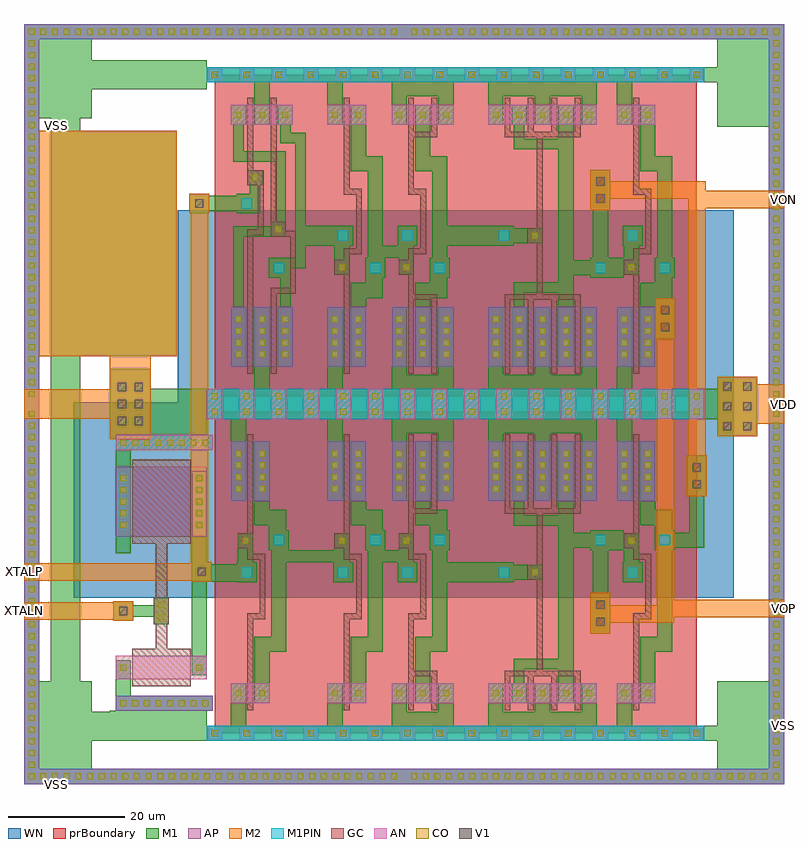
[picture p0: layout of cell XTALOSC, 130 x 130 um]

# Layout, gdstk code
import gdstk
lib = gdstk.Library(unit=1e-6, precision=1e-09)
def R(c, l, rs):  # rectangles x0, y0, x1, y1
    for r in rs: c.add(gdstk.rectangle(r[:2], r[2:], *l))
def A(c, l, x, y, w, h, nx, ny, dx, dy):  # array of equal rectangles
    R(c, l, [(x+i*dx, y+j*dy, x+i*dx+w, y+j*dy+h) for i in range(nx) for j in range(ny)])
def P(c, l, *ps):  # polygons
    for p in ps: c.add(gdstk.Polygon(p, *l))
AP = (3, 1)
AN = (3, 2)
GC = (8, 1)
CO = (11, 0)
M1 = (13, 0)
V1 = (19, 0)
M2 = (20, 0)
M1PIN = (48, 1)
WN = (140, 0)
prBoundary = (235, 0)

inv_x1 = lib.new_cell('INV_X1')
A(inv_x1, AP, -1.3, -1.3, 2.6, 2.6, 4, 1, 5.5, 0)
R(inv_x1, AP, [(2.8,39.7,9.4,49.9), (2.8,39.7,9.4,49.9)])
A(inv_x1, AN, -1.3, 53.7, 2.6, 2.6, 4, 1, 5.5, 0)
R(inv_x1, AN, [(2.8,5.1,9.4,8.5)])
P(inv_x1, GC, [(5.6,3.9),(5.6,20.5),(7.7,20.5),(7.7,29.7),(5.6,29.7),(5.6,31.6),(4,31.6),(4,34.2),(5.6,34.2),(5.6,51.1),(6.6,51.1),(6.6,30.7),(8.7,30.7),(8.7,19.5),(6.6,19.5),(6.6,3.9)])
A(inv_x1, CO, -0.5, -0.5, 1, 1, 4, 2, 5.5, 55)
A(inv_x1, CO, 3.6, 41.3, 1, 1, 1, 4, 0, 2)
A(inv_x1, CO, 7.6, 41.3, 1, 1, 1, 4, 0, 2)
R(inv_x1, CO, [(3.6,6.3,4.6,7.3), (7.6,6.3,8.6,7.3), (4.8,32.4,5.8,33.4)])
P(inv_x1, M1, [(-1.3,-1.3),(-1.3,1.3),(2.8,1.3),(2.8,8.5),(5.4,8.5),(5.4,1.3),(17.8,1.3),(17.8,-1.3)],
  [(3.8,25.8),(3.8,29.2),(4,29.2),(4,34.2),(6.6,34.2),(6.6,29.2),(7.2,29.2),(7.2,25.8)],
  [(6.8,5.1),(6.8,16.5),(9.7,16.5),(9.7,31.3),(9.3,31.3),(9.3,35.6),(6.8,35.6),(6.8,49.9),(9.4,49.9),(9.4,38.2),(12.3,38.2),(12.3,34.7),(12.7,34.7),(12.7,31.3),(12.3,31.3),(12.3,13.9),(9.4,13.9),(9.4,5.1)],
  [(2.8,39.7),(2.8,53.7),(-1.3,53.7),(-1.3,56.3),(17.8,56.3),(17.8,53.7),(5.4,53.7),(5.4,39.7)])
R(inv_x1, M1PIN, [(-1.3,-1.3,17.8,1.3), (4.6,26.6,6.4,28.4), (10.1,32.1,11.9,33.9), (-1.3,53.7,17.8,56.3)])
R(inv_x1, WN, [(-6.3,23.2,22.8,61.3)])
R(inv_x1, prBoundary, [(0,0,16.5,55)])
inv_x1.add(gdstk.Label('A', (5.5,27.5), layer=48, texttype=0))
inv_x1.add(gdstk.Label('vdd', (0,55), layer=48, texttype=0))
inv_x1.add(gdstk.Label('gnd', (0,0), layer=48, texttype=0))
inv_x1.add(gdstk.Label('Y', (11,33), layer=48, texttype=0))

inv_x2 = lib.new_cell('INV_X2')
A(inv_x2, AP, -1.3, -1.3, 2.6, 2.6, 4, 1, 5.5, 0)
R(inv_x2, AP, [(2.8,39.7,13.4,49.9), (2.8,39.7,13.4,49.9)])
A(inv_x2, AN, -1.3, 53.7, 2.6, 2.6, 4, 1, 5.5, 0)
R(inv_x2, AN, [(2.8,5.1,13.4,8.5)])
P(inv_x2, GC, [(5.6,3.9),(5.6,20.5),(7.7,20.5),(7.7,29.7),(5.6,29.7),(5.6,31.6),(4,31.6),(4,34.2),(5.6,34.2),(5.6,51.1),(6.6,51.1),(6.6,38.5),(9.6,38.5),(9.6,51.1),(10.6,51.1),(10.6,37.5),(6.6,37.5),(6.6,30.7),(8.7,30.7),(8.7,19.5),(6.6,19.5),(6.6,10.7),(10.6,10.7),(10.6,3.9),(9.6,3.9),(9.6,9.7),(6.6,9.7),(6.6,3.9)])
A(inv_x2, CO, -0.5, -0.5, 1, 1, 4, 2, 5.5, 55)
A(inv_x2, CO, 3.6, 6.3, 1, 1, 3, 2, 4, 35)
A(inv_x2, CO, 3.6, 43.3, 1, 1, 3, 3, 4, 2)
R(inv_x2, CO, [(4.8,32.4,5.8,33.4)])
P(inv_x2, M1, [(-1.3,-1.3),(-1.3,1.3),(2.8,1.3),(2.8,8.5),(5.4,8.5),(5.4,3.7),(10.8,3.7),(10.8,8.5),(13.4,8.5),(13.4,1.3),(17.8,1.3),(17.8,-1.3)],
  [(3.8,25.8),(3.8,29.2),(4,29.2),(4,34.2),(6.6,34.2),(6.6,29.2),(7.2,29.2),(7.2,25.8)],
  [(6.8,5.1),(6.8,16.5),(9.7,16.5),(9.7,31.3),(9.3,31.3),(9.3,35.6),(6.8,35.6),(6.8,49.9),(9.4,49.9),(9.4,38.2),(12.3,38.2),(12.3,34.7),(12.7,34.7),(12.7,31.3),(12.3,31.3),(12.3,13.9),(9.4,13.9),(9.4,5.1)],
  [(2.8,39.7),(2.8,53.7),(-1.3,53.7),(-1.3,56.3),(17.8,56.3),(17.8,53.7),(13.4,53.7),(13.4,39.7),(10.8,39.7),(10.8,51.3),(5.4,51.3),(5.4,39.7)])
R(inv_x2, M1PIN, [(-1.3,-1.3,17.8,1.3), (4.6,26.6,6.4,28.4), (10.1,32.1,11.9,33.9), (-1.3,53.7,17.8,56.3)])
R(inv_x2, WN, [(-6.3,23.2,22.8,61.3)])
R(inv_x2, prBoundary, [(0,0,16.5,55)])
inv_x2.add(gdstk.Label('A', (5.5,27.5), layer=48, texttype=0))
inv_x2.add(gdstk.Label('Y', (11,33), layer=48, texttype=0))
inv_x2.add(gdstk.Label('vdd', (0,55), layer=48, texttype=0))
inv_x2.add(gdstk.Label('gnd', (0,0), layer=48, texttype=0))

inv_x4 = lib.new_cell('INV_X4')
A(inv_x4, AP, -1.3, -1.3, 2.6, 2.6, 6, 1, 5.5, 0)
R(inv_x4, AP, [(2.8,39.7,21.4,49.9), (2.8,39.7,21.4,49.9)])
A(inv_x4, AN, -1.3, 53.7, 2.6, 2.6, 6, 1, 5.5, 0)
R(inv_x4, AN, [(2.8,5.1,21.4,8.5)])
P(inv_x4, GC, [(5.6,3.9),(5.6,10.7),(11.1,10.7),(11.1,26.2),(9.5,26.2),(9.5,28.8),(11.1,28.8),(11.1,37.5),(5.6,37.5),(5.6,51.1),(6.6,51.1),(6.6,38.5),(9.6,38.5),(9.6,51.1),(10.6,51.1),(10.6,38.5),(13.6,38.5),(13.6,51.1),(14.6,51.1),(14.6,38.5),(17.6,38.5),(17.6,51.1),(18.6,51.1),(18.6,37.5),(12.1,37.5),(12.1,10.7),(18.6,10.7),(18.6,3.9),(17.6,3.9),(17.6,9.7),(14.6,9.7),(14.6,3.9),(13.6,3.9),(13.6,9.7),(10.6,9.7),(10.6,3.9),(9.6,3.9),(9.6,9.7),(6.6,9.7),(6.6,3.9)])
A(inv_x4, CO, -0.5, -0.5, 1, 1, 6, 2, 5.5, 55)
A(inv_x4, CO, 3.6, 6.3, 1, 1, 5, 2, 4, 35)
A(inv_x4, CO, 3.6, 43.3, 1, 1, 5, 3, 4, 2)
R(inv_x4, CO, [(10.3,27,11.3,28)])
P(inv_x4, M1, [(-1.3,-1.3),(-1.3,1.3),(2.8,1.3),(2.8,8.5),(5.4,8.5),(5.4,3.7),(10.8,3.7),(10.8,8.5),(13.4,8.5),(13.4,3.7),(18.8,3.7),(18.8,8.5),(21.4,8.5),(21.4,1.3),(28.8,1.3),(28.8,-1.3)],
  [(3.8,25.8),(3.8,29.2),(7.2,29.2),(7.2,28.8),(12.1,28.8),(12.1,26.2),(7.2,26.2),(7.2,25.8)],
  [(6.8,5.1),(6.8,8.5),(7.2,8.5),(7.2,12.7),(14.8,12.7),(14.8,35.5),(7.2,35.5),(7.2,39.7),(6.8,39.7),(6.8,49.9),(9.4,49.9),(9.4,39.7),(9,39.7),(9,37.3),(14.8,37.3),(14.8,49.9),(17.4,49.9),(17.4,34.3),(20.3,34.3),(20.3,34.7),(23.7,34.7),(23.7,31.3),(20.3,31.3),(20.3,31.7),(17.4,31.7),(17.4,5.1),(14.8,5.1),(14.8,10.9),(9,10.9),(9,8.5),(9.4,8.5),(9.4,5.1)],
  [(2.8,39.7),(2.8,53.7),(-1.3,53.7),(-1.3,56.3),(28.8,56.3),(28.8,53.7),(21.4,53.7),(21.4,39.7),(18.8,39.7),(18.8,51.3),(13.4,51.3),(13.4,39.7),(10.8,39.7),(10.8,51.3),(5.4,51.3),(5.4,39.7)])
R(inv_x4, M1PIN, [(-1.3,-1.3,28.8,1.3), (4.6,26.6,6.4,28.4), (21.1,32.1,22.9,33.9), (-1.3,53.7,28.8,56.3)])
R(inv_x4, WN, [(-6.3,23.2,33.8,61.3)])
R(inv_x4, prBoundary, [(0,0,27.5,55)])
inv_x4.add(gdstk.Label('Y', (22,33), layer=48, texttype=0))
inv_x4.add(gdstk.Label('A', (5.5,27.5), layer=48, texttype=0))
inv_x4.add(gdstk.Label('vdd', (0,55), layer=48, texttype=0))
inv_x4.add(gdstk.Label('gnd', (0,0), layer=48, texttype=0))

buf_x1 = lib.new_cell('BUF_X1')
A(buf_x1, AP, -1.3, -1.3, 2.6, 2.6, 4, 1, 5.5, 0)
R(buf_x1, AP, [(2.8,39.7,13.4,49.9), (2.8,39.7,13.4,49.9)])
A(buf_x1, AN, -1.3, 53.7, 2.6, 2.6, 4, 1, 5.5, 0)
R(buf_x1, AN, [(2.8,5.1,13.4,8.5)])
P(buf_x1, GC, [(5.6,3.9),(5.6,18.9),(7.4,18.9),(7.4,26.4),(5.6,26.4),(5.6,51.1),(6.6,51.1),(6.6,27.4),(8.4,27.4),(8.4,16.3),(6.6,16.3),(6.6,3.9)],
  [(9.6,3.9),(9.6,27.7),(12.9,27.7),(12.9,36.4),(9.6,36.4),(9.6,51.1),(10.6,51.1),(10.6,37.4),(13.9,37.4),(13.9,26.7),(12.2,26.7),(12.2,25.1),(10.6,25.1),(10.6,3.9)])
A(buf_x1, CO, -0.5, -0.5, 1, 1, 4, 2, 5.5, 55)
A(buf_x1, CO, 3.6, 41.3, 1, 1, 1, 4, 0, 2)
A(buf_x1, CO, 11.6, 41.3, 1, 1, 1, 4, 0, 2)
R(buf_x1, CO, [(3.6,6.3,4.6,7.3), (7.6,6.3,8.6,7.3), (7.6,6.3,8.6,7.3), (11.6,6.3,12.6,7.3), (6.4,17.1,7.4,18.1), (10.4,25.9,11.4,26.9), (7.6,41.3,8.6,42.3), (7.6,41.3,8.6,42.3), (7.6,43.3,8.6,44.3), (7.6,43.3,8.6,44.3), (7.6,45.3,8.6,46.3), (7.6,45.3,8.6,46.3), (7.6,47.3,8.6,48.3), (7.6,47.3,8.6,48.3)])
P(buf_x1, M1, [(-1.3,-1.3),(-1.3,1.3),(6.8,1.3),(6.8,8.5),(9.4,8.5),(9.4,1.3),(17.8,1.3),(17.8,-1.3)],
  [(5.6,16.3),(5.6,18.9),(6,18.9),(6,20.3),(3.8,20.3),(3.8,23.7),(7.8,23.7),(7.8,18.9),(8.2,18.9),(8.2,16.3)],
  [(2.8,5.1),(2.8,8.5),(3.2,8.5),(3.2,14.9),(10.4,14.9),(10.4,25.1),(9.6,25.1),(9.6,25.9),(3.2,25.9),(3.2,39.7),(2.8,39.7),(2.8,49.9),(5.4,49.9),(5.4,39.7),(5,39.7),(5,27.7),(12.2,27.7),(12.2,13.1),(5,13.1),(5,8.5),(5.4,8.5),(5.4,5.1)],
  [(10.8,5.1),(10.8,8.5),(11.2,8.5),(11.2,11.7),(13.8,11.7),(13.8,31.3),(9.3,31.3),(9.3,34.7),(11.2,34.7),(11.2,39.7),(10.8,39.7),(10.8,49.9),(13.4,49.9),(13.4,39.7),(13,39.7),(13,33.1),(15.6,33.1),(15.6,9.9),(13,9.9),(13,8.5),(13.4,8.5),(13.4,5.1)],
  [(6.8,39.7),(6.8,53.7),(-1.3,53.7),(-1.3,56.3),(17.8,56.3),(17.8,53.7),(9.4,53.7),(9.4,39.7)])
R(buf_x1, M1PIN, [(-1.3,-1.3,17.8,1.3), (4.6,21.1,6.4,22.9), (10.1,32.1,11.9,33.9), (-1.3,53.7,17.8,56.3)])
R(buf_x1, WN, [(-6.3,23.2,22.8,61.3)])
R(buf_x1, prBoundary, [(0,0,16.5,55)])
buf_x1.add(gdstk.Label('vdd', (0,55), layer=48, texttype=0))
buf_x1.add(gdstk.Label('gnd', (0,0), layer=48, texttype=0))
buf_x1.add(gdstk.Label('Y', (11,33), layer=48, texttype=0))
buf_x1.add(gdstk.Label('A', (5.5,22), layer=48, texttype=0))

via_1 = lib.new_cell('via_1')
R(via_1, M1, [(-1.7,-3.5,1.7,3.5)])
R(via_1, V1, [(-0.7,-2.15,0.7,-0.75), (-0.7,0.75,0.7,2.15)])
R(via_1, M2, [(-1.7,-3.5,1.7,3.5)])

via_1_2 = lib.new_cell('via_1$2')
R(via_1_2, M1, [(-1.7,-1.7,1.7,1.7)])
R(via_1_2, V1, [(-0.7,-0.7,0.7,0.7)])
R(via_1_2, M2, [(-1.7,-1.7,1.7,1.7)])

cont_p_1 = lib.new_cell('cont_p$1')
P(cont_p_1, AP, [(-65,-65),(-65,62.4),(-62.4,62.4),(-62.4,-62.4),(62.4,-62.4),(62.4,62.4),(-65,62.4),(-65,65),(65,65),(65,-65)])
A(cont_p_1, CO, -64.2, -64.2, 1, 1, 1, 32, 0, 2)
A(cont_p_1, CO, -64.2, -64.2, 1, 1, 32, 2, 2, 127.4)
A(cont_p_1, CO, 1.2, -64.2, 1, 1, 32, 2, 2, 127.4)
A(cont_p_1, CO, 63.2, -64.2, 1, 1, 1, 32, 0, 2)
A(cont_p_1, CO, -64.2, 1.2, 1, 1, 1, 32, 0, 2)
A(cont_p_1, CO, 63.2, 1.2, 1, 1, 1, 32, 0, 2)
P(cont_p_1, M1, [(-65,-65),(-65,62.4),(-62.4,62.4),(-62.4,-62.4),(62.4,-62.4),(62.4,62.4),(-65,62.4),(-65,65),(65,65),(65,-65)])

via_1_5 = lib.new_cell('via_1$5')
R(via_1_5, M1, [(-3.5,-6,3.5,6)])
A(via_1_5, V1, -2.15, -3.6, 1.4, 1.4, 1, 3, 0, 2.9)
A(via_1_5, V1, 0.75, -3.6, 1.4, 1.4, 1, 3, 0, 2.9)
R(via_1_5, M2, [(-3.5,-6,3.5,6)])

fet_n_1 = lib.new_cell('fet_n$1')
R(fet_n_1, AN, [(-7.8,-2,7.8,2)])
R(fet_n_1, CO, [(-7,-0.5,-6,0.5), (6,-0.5,7,0.5)])
R(fet_n_1, M1, [(-7.8,-1.3,-5.2,1.3), (5.2,-1.3,7.8,1.3)])
fet_n_1.add(gdstk.FlexPath([(0,-3.2),(0,3.2)], 10, ends="flush", simple_path=True, layer=8, datatype=1))  # GC

fet_p_1 = lib.new_cell('fet_p$1')
R(fet_p_1, AP, [(-7.8,-6,7.8,6)])
A(fet_p_1, CO, -7, -4.5, 1, 1, 1, 5, 0, 2)
A(fet_p_1, CO, 6, -4.5, 1, 1, 1, 5, 0, 2)
R(fet_p_1, M1, [(-7.8,-5.3,-5.2,5.3), (5.2,-5.3,7.8,5.3)])
fet_p_1.add(gdstk.FlexPath([(0,-7.2),(0,7.2)], 10, ends="flush", simple_path=True, layer=8, datatype=1))  # GC

cont_p_2 = lib.new_cell('cont_p$2')
R(cont_p_2, AP, [(-1.3,-1.3,1.3,1.3)])
R(cont_p_2, CO, [(-0.5,-0.5,0.5,0.5)])
R(cont_p_2, M1, [(-1.3,-1.3,1.3,1.3)])

cont_n_1 = lib.new_cell('cont_n$1')
R(cont_n_1, AN, [(-1.3,-1.3,1.3,1.3)])
R(cont_n_1, CO, [(-0.5,-0.5,0.5,0.5)])
R(cont_n_1, M1, [(-1.3,-1.3,1.3,1.3)])

via_1_4 = lib.new_cell('via_1$4')
R(via_1_4, M1, [(-1.7,-1.7,1.7,1.7)])
R(via_1_4, V1, [(-0.7,-0.7,0.7,0.7)])
R(via_1_4, M2, [(-1.7,-1.7,1.7,1.7)])

cont_g_1 = lib.new_cell('cont_g$1')
R(cont_g_1, GC, [(-1.3,-1.3,1.3,1.3)])
R(cont_g_1, CO, [(-0.5,-0.5,0.5,0.5)])
R(cont_g_1, M1, [(-1.3,-1.3,1.3,1.3)])

xtalosc_inv_1 = lib.new_cell('XTALOSC_INV$1')
R(xtalosc_inv_1, WN, [(-15,-16.4,15,17)])
xtalosc_inv_1.add(gdstk.FlexPath([(-6.5,5.3),(-6.5,8.8)], 2.6, ends="flush", simple_path=True, layer=13, datatype=0))  # M1
xtalosc_inv_1.add(gdstk.FlexPath([(-6.5,-8.8),(-6.5,-5.3)], 2.6, ends="flush", simple_path=True, layer=13, datatype=0))  # M1
xtalosc_inv_1.add(gdstk.FlexPath([(6.5,-27.1),(6.5,-5.3)], 2.6, ends="flush", simple_path=True, layer=13, datatype=0))  # M1
xtalosc_inv_1.add(gdstk.FlexPath([(-6.5,-29.7),(-6.5,-33.2)], 2.6, ends="flush", simple_path=True, layer=13, datatype=0))  # M1
xtalosc_inv_1.add(gdstk.FlexPath([(-4.8,-18.7),(-1.3,-18.7)], 2, ends="flush", simple_path=True, layer=13, datatype=0))  # M1
xtalosc_inv_1.add(gdstk.FlexPath([(0,-25.2),(0,-7.2)], 2, ends="flush", simple_path=True, layer=8, datatype=1))  # GC
xtalosc_inv_1.add(gdstk.Reference(fet_n_1, (0,-28.4)))
xtalosc_inv_1.add(gdstk.Reference(fet_p_1, (0,0)))
r = gdstk.Reference(cont_p_2, (-6.5,-34.5)); r.repetition = gdstk.Repetition(8, 1, v1=(2,0), v2=(0,0)); xtalosc_inv_1.add(r)
r = gdstk.Reference(cont_n_1, (-6.5,10.1)); r.repetition = gdstk.Repetition(8, 1, v1=(2,0), v2=(0,0)); xtalosc_inv_1.add(r)
xtalosc_inv_1.add(gdstk.Reference(via_1_4, (-6.5,-18.7)))
r = gdstk.Reference(cont_g_1, (0,-19.7)); r.repetition = gdstk.Repetition(1, 2, v1=(0,0), v2=(0,2)); xtalosc_inv_1.add(r)
xtalosc_inv_1.add(gdstk.Reference(via_1_4, (6.9,-12)))
xtalosc_inv_1.add(gdstk.Label('VDD', (-6.5,10.1), layer=48, texttype=0))
xtalosc_inv_1.add(gdstk.Label('VSS', (-6.5,-34.5), layer=48, texttype=0))
xtalosc_inv_1.add(gdstk.Label('VIN', (-6.5,-18.7), layer=49, texttype=0))
xtalosc_inv_1.add(gdstk.Label('VOUT', (6.9,-12), layer=49, texttype=0))

xtalosc = lib.new_cell('XTALOSC')
R(xtalosc, M1, [(2.6,2.6,11.6,17.6), (118.6,2.6,127.4,17.6), (14.7,7.4,31.3,12.5), (72.4,34.5,80.4,37.9), (44.9,37.9,53.1,40), (61.4,37.9,64.1,40), (100.3,40,102.6,43.4), (14.7,59.7,31.3,67.6), (4.6,73.2,26.1,111.7), (100.3,86.6,102.6,90), (61.4,90,64.1,92.1), (48.2,92.1,52.9,95.5), (72.4,92.1,80.4,95.5), (118.6,112.4,127.4,127.4), (2.6,113.9,11.6,127.4)])
R(xtalosc, M2, [(14.7,71,21.7,73.2), (2.6,73.2,26.1,111.7)])
xtalosc.add(gdstk.FlexPath([(36.4,36.1),(32.1,36.1)], 3, ends="flush", simple_path=True, layer=13, datatype=0))  # M1
xtalosc.add(gdstk.FlexPath([(31.3,121.3),(4.6,121.3)], 5, ends="flush", simple_path=True, layer=13, datatype=0))  # M1
xtalosc.add(gdstk.FlexPath([(116.4,65),(118.6,65)], 5.2, ends="flush", simple_path=True, layer=13, datatype=0))  # M1
xtalosc.add(gdstk.FlexPath([(116.4,8.7),(118.6,8.7)], 2.6, ends="flush", simple_path=True, layer=13, datatype=0))  # M1
xtalosc.add(gdstk.FlexPath([(116.4,121.3),(118.6,121.3)], 2.6, ends="flush", simple_path=True, layer=13, datatype=0))  # M1
xtalosc.add(gdstk.FlexPath([(14.7,9.9),(7.1,9.9),(7.1,121.3)], 5, ends="flush", simple_path=True, layer=13, datatype=0))  # M1
xtalosc.add(gdstk.FlexPath([(31.7,99.3),(36.4,99.3)], 2.6, ends="flush", simple_path=True, layer=13, datatype=0))  # M1
xtalosc.add(gdstk.FlexPath([(111.3,41.7),(112.6,41.7),(115.1,41.7),(115.1,49.2)], 2.6, ends="flush", simple_path=True, layer=13, datatype=0))  # M1
xtalosc.add(gdstk.FlexPath([(98.6,98.1),(98.6,90)], 2.6, ends="flush", simple_path=True, layer=13, datatype=0))  # M1
xtalosc.add(gdstk.FlexPath([(98.6,32.7),(98.6,40),(98.6,40)], 2.6, ends="flush", simple_path=True, layer=13, datatype=0))  # M1
xtalosc.add(gdstk.FlexPath([(125.4,65),(130,65)], 6.8, ends="flush", simple_path=True, layer=20, datatype=0))  # M2
xtalosc.add(gdstk.FlexPath([(15.3,29.6),(0,29.6)], 3, ends="flush", simple_path=True, layer=20, datatype=0))  # M2
xtalosc.add(gdstk.FlexPath([(0,36.3),(32.1,36.3)], 3, ends="flush", simple_path=True, layer=20, datatype=0))  # M2
xtalosc.add(gdstk.FlexPath([(30,34.8),(30,97.6)], 3, ends="flush", simple_path=True, layer=20, datatype=0))  # M2
xtalosc.add(gdstk.FlexPath([(8.5,29.6),(0,29.6)], 3, ends="flush", simple_path=True, layer=20, datatype=0))  # M2
xtalosc.add(gdstk.FlexPath([(8.5,36.3),(0,36.3)], 3, ends="flush", simple_path=True, layer=20, datatype=0))  # M2
xtalosc.add(gdstk.FlexPath([(116.6,100),(130,100)], 3, ends="flush", simple_path=True, layer=20, datatype=0))  # M2
xtalosc.add(gdstk.FlexPath([(111.2,30),(130,30)], 3, ends="flush", simple_path=True, layer=20, datatype=0))  # M2
xtalosc.add(gdstk.FlexPath([(14.7,65),(0,65)], 5, ends="flush", simple_path=True, layer=20, datatype=0))  # M2
xtalosc.add(gdstk.FlexPath([(115.1,56.2),(115.1,98.1)], 3, ends="flush", simple_path=True, layer=20, datatype=0))  # M2
xtalosc.add(gdstk.FlexPath([(100.3,101.6),(115.1,101.6),(115.1,98.1)], 3, ends="flush", simple_path=True, layer=20, datatype=0))  # M2
xtalosc.add(gdstk.FlexPath([(109.7,76.1),(109.7,29.1),(100.3,29.1)], 3, ends="flush", simple_path=True, layer=20, datatype=0))  # M2
xtalosc.add(gdstk.Reference(inv_x1, (32.6,8.7)))
xtalosc.add(gdstk.Reference(inv_x1, (49.1,8.7)))
xtalosc.add(gdstk.Reference(inv_x2, (60.1,8.7)))
xtalosc.add(gdstk.Reference(inv_x1, (49.1,121.3), x_reflection=True))
xtalosc.add(gdstk.Reference(inv_x4, (76.6,8.7)))
xtalosc.add(gdstk.Reference(inv_x2, (60.1,121.3), x_reflection=True))
xtalosc.add(gdstk.Reference(inv_x4, (76.6,121.3), x_reflection=True))
xtalosc.add(gdstk.Reference(buf_x1, (32.6,121.3), x_reflection=True))
xtalosc.add(gdstk.Reference(inv_x1, (98.6,121.3), x_reflection=True))
xtalosc.add(gdstk.Reference(inv_x1, (49.1,121.3), x_reflection=True))
xtalosc.add(gdstk.Reference(via_1, (115.1,52.7)))
xtalosc.add(gdstk.Reference(via_1, (98.6,101.6)))
xtalosc.add(gdstk.Reference(via_1, (98.6,29.2)))
xtalosc.add(gdstk.Reference(via_1_2, (30,99.3)))
xtalosc.add(gdstk.Reference(via_1, (109.7,79.6)))
xtalosc.add(gdstk.Reference(cont_p_1, (65,65)))
xtalosc.add(gdstk.Reference(via_1_5, (18.2,65)))
xtalosc.add(gdstk.Reference(inv_x1, (98.6,8.7)))
xtalosc.add(gdstk.Reference(xtalosc_inv_1, (23.5,48.3)))
r = gdstk.Reference(via_1_2, (120.3,61.2)); r.repetition = gdstk.Repetition(2, 3, v1=(3.4,0), v2=(0,3.4)); xtalosc.add(r)
xtalosc.add(gdstk.Label('VSS', (5.5,0), layer=48, texttype=0))
xtalosc.add(gdstk.Label('VSS', (5.5,112.6), layer=48, texttype=0))
xtalosc.add(gdstk.Label('XTALN', (0.1,29.6), layer=49, texttype=0))
xtalosc.add(gdstk.Label('XTALP', (0.1,36.3), layer=49, texttype=0))
xtalosc.add(gdstk.Label('VSS', (129.9,10), layer=49, texttype=0))
xtalosc.add(gdstk.Label('VOP', (129.9,30), layer=49, texttype=0))
xtalosc.add(gdstk.Label('VON', (129.9,100), layer=49, texttype=0))
xtalosc.add(gdstk.Label('VDD', (129.9,65), layer=49, texttype=0))

lib.write_gds('XTALOSC.gds')
